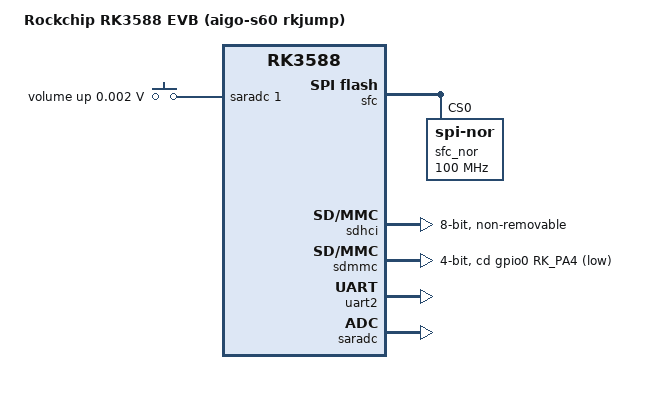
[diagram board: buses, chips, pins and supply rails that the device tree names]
// SPDX-License-Identifier: (GPL-2.0+ OR MIT)
/*
 * RK3588 aigo-s60 (rkjump target)
 *
 * 基于 official-rom fdt.dts 精简，只保留 rkjump 热跳转需要的节点：
 *   - UART2 (串口控制台)
 *   - SFC + SPI NOR (启动存储)
 *   - SDHCI (eMMC)
 *   - SDMMC (SD卡)
 *   - SARADC (ADC按键，无 vref-supply 避免PMIC超时)
 *   - CRU/GRF/Pinctrl/GPIO (基础时钟和引脚)
 *
 * 对比 bdy-g98.dts 的主要删减：
 *   - 移除所有 PMIC regulator (vref-supply, I2C regulator chain)
 *   - 移除 ethernet/gmac (rkjump不需要网络)
 *   - 移除 PCIE/SATA/HDMI/音频/IR/LED/Fan
 *   - 移除 u-boot,dm-pre-reloc 标记避免probe超时设备
 *   - saradc 不设 vref-supply（原厂固件同样不设）
 */
/dts-v1/;

#include <dt-bindings/gpio/gpio.h>
#include <dt-bindings/input/input.h>
#include <dt-bindings/pinctrl/rockchip.h>
#include "rk3588.dtsi"

/ {
	model = "Rockchip RK3588 EVB (aigo-s60 rkjump)";
	compatible = "rockchip,rk3588-evb", "rockchip,rk3588";

	chosen {
		stdout-path = "serial2:1500000n8";
		u-boot,spl-boot-order = "same-as-spl", &spi_nor;
	};

	aliases {
		spi5 = &sfc;
		mmc0 = &sdhci;
		mmc1 = &sdmmc;
	};

	adc-keys {
		compatible = "adc-keys";
		io-channels = <&saradc 1>;
		io-channel-names = "buttons";
		keyup-threshold-microvolt = <1800000>;
		u-boot,dm-pre-reloc;
		status = "okay";

		volumeup-key {
			u-boot,dm-pre-reloc;
			linux,code = <KEY_VOLUMEUP>;
			label = "volume up";
			press-threshold-microvolt = <1750>;
		};
	};
};

/* ---- SPI Flash (启动存储) ---- */
&sfc {
	status = "okay";
	u-boot,dm-pre-reloc;
	u-boot,dm-spl;
	bootph-all;
	bootph-pre-ram;
	bootph-some-ram;
	pinctrl-names = "default";
	pinctrl-0 = <&fspim0_pins>;
	/delete-node/ flash@1;

	spi_nor: flash@0 {
		u-boot,dm-spl;
		compatible = "jedec,spi-nor";
		label = "sfc_nor";
		reg = <0x00>;
		spi-tx-bus-width = <0x01>;
		spi-rx-bus-width = <0x04>;
		spi-max-frequency = <0x5f5e100>;
		spi-4byte-addressing;
		bootph-all;
		bootph-pre-ram;
		bootph-some-ram;
	};
};

/* ---- eMMC ---- */
&sdhci {
	bus-width = <8>;
	no-sdio;
	no-sd;
	non-removable;
	max-frequency = <200000000>;
	mmc-hs400-1_8v;
	mmc-hs400-enhanced-strobe;
	status = "okay";
};

/* ---- SD Card ---- */
&sdmmc {
	bus-width = <4>;
	cap-mmc-highspeed;
	cap-sd-highspeed;
	cd-gpios = <&gpio0 RK_PA4 GPIO_ACTIVE_LOW>;
	disable-wp;
	no-mmc;
	no-sdio;
	max-frequency = <200000000>;
	sd-uhs-sdr104;
	status = "okay";
};

/* ---- UART2 (串口控制台) ---- */
&uart2 {
	pinctrl-0 = <&uart2m0_xfer>;
	status = "okay";
};

/* ---- SARADC (ADC按键, 不设 vref-supply 避免PMIC I2C超时) ---- */
&saradc {
	status = "okay";
	u-boot,dm-pre-reloc;
};
